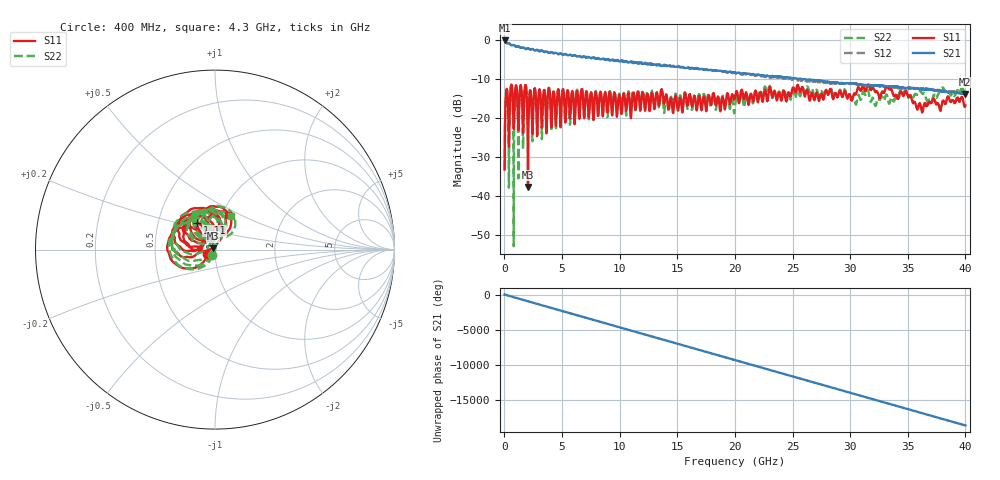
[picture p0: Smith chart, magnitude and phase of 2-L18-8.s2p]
! 2/21/2025 7:14:00 AM
! Z:\OQC\AD5\613\LOT-141-0825\SINGLE\2-L18-8.S2P
! CHANNEL.1
! TR.MEASUREMENT
! CORRECTED.DATA
! RF.CORRECTION: FULL.FOUR.PORT.CAL.PORT.1.2.3.4
! AVERAGING.OFF
! IF.BANDWIDTH: 1KHZ
! SWEEPTYPE:  FREQ.SWEEP(Linear)
! Reference Plane Port Info
! PORT:  PORT1  PORT2
! DISTANCE:  0  m  0  m
! TIME:  0  s  0  s
! PHASE.OFFSET:  0 °  0 °
! LOSS:  0  dB  0  dB
! REF.LOSS:  0  dB  0  dB
! REF.FREQ:  0  Hz  0  Hz
! Power Info
! POWER:  -10  dBm  -10  dBm
! EFF.POWER:  -10  dBm  -10  dBm
! SOURCE.ATTEN:  0  dB  0  dB
! TEST.ATTEN:  0  dB  0  dB
# GHZ S RI R 50.0
! FREQ.GHZ  S11RE  S11IM  S21RE  S21IM  S12RE  S12IM  S22RE  S22IM
!; PortSelection: Port_12
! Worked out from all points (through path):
!   4000 points, 10 MHz to 40 GHz, reference 50 ohm
!   highest |S21| = -0.15 dB at 10 MHz (marker M1); lowest = -13.9 dB at 39.94 GHz (marker M2)
!   group delay of S21, straight-line fit = 1.29 ns
!   lowest |S11| = -37.8 dB at 2.04 GHz (marker M3), VSWR 1.03, Z = 49 + j0.75 ohm
!   |S11| at or under -10 dB: start of sweep to end of sweep
!   |S22| runs from -53.0 to -11.5 dB; largest |S21 - S12| = 0.022
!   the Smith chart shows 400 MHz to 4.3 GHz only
!   S11 on the Smith chart (normalised r, x): 400 MHz: 0.91, -0.05; 1.11 GHz: 0.78, +0.24; 4.3 GHz: 1.07, +0.43
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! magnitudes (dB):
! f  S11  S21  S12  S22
! 10 MHz  -33.3  -0.1  -0.2  -33.3
! 150 MHz  -13.2  -0.7  -0.7  -13.3
! 400 MHz  -25.8  -0.9  -0.9  -29.5
! 1.11 GHz  -14.9  -1.7  -1.7  -15.3
! 1.79 GHz  -12.0  -2.3  -2.3  -11.9
! 2.04 GHz  -37.8  -2.2  -2.1  -21.0
! 2.28 GHz  -13.7  -2.5  -2.4  -13.6
! 4.3 GHz  -13.6  -3.4  -3.4  -13.6
! 6.68 GHz  -12.7  -4.5  -4.4  -12.4
! 13.34 GHz  -15.6  -6.5  -6.4  -16.0
! 18.85 GHz  -15.7  -8.0  -8.1  -15.0
! 20.01 GHz  -14.5  -8.4  -8.5  -17.2
! 22.77 GHz  -15.4  -9.2  -9.4  -13.5
! 24.56 GHz  -14.4  -9.7  -9.9  -13.8
! 25.47 GHz  -11.6  -10.0  -10.4  -12.7
! 26.67 GHz  -13.7  -10.3  -10.7  -12.6
! 33.34 GHz  -12.5  -11.9  -12.0  -16.1
! 36.19 GHz  -18.0  -12.7  -12.4  -13.6
! 36.89 GHz  -16.0  -12.8  -12.8  -15.5
! 37.98 GHz  -16.2  -13.1  -13.2  -12.3
! 39.94 GHz  -17.1  -13.9  -13.4  -13.4
! 40 GHz  -16.8  -13.8  -13.4  -13.1
